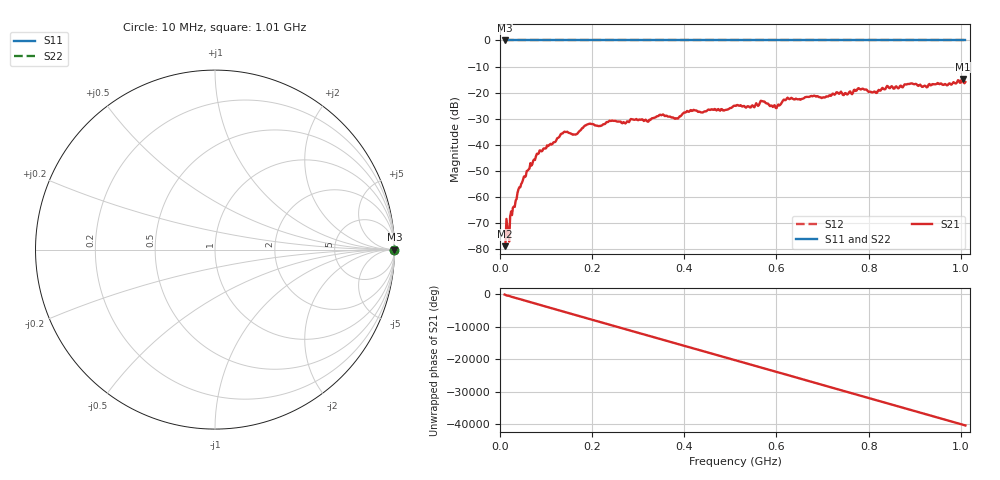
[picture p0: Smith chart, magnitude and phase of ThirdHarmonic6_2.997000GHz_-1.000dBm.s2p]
! 8/17/2025 8:33:36 AM
! C:\ANRITSUVNA\TEMP\TEMP.S2P
! CHANNEL.1
! TR.MEASUREMENT
! RAW.DATA
! RF.CORRECTION.OFF
! AVERAGING.OFF
! IF.BANDWIDTH: 5KHZ
! SWEEPTYPE:  FREQ.SWEEP(Linear)
! Reference Plane Port Info
! PORT:  PORT1  PORT2
! DISTANCE:  0  m  0  m
! TIME:  0  s  0  s
! PHASE.OFFSET:  0  deg.  0  deg.
! LOSS:  0  dB  0  dB
! REF.LOSS:  0  dB  0  dB
! REF.FREQ:  0  Hz  0  Hz
! Power Info
! POWER:  -20  dBm  -20  dBm
! EFF.POWER:  -20  dBm  -20  dBm
! SOURCE.ATTEN:  0  dB  0  dB
! TEST.ATTEN:  0  dB  0  dB
# GHZ S RI R 50.0
! FREQ.GHZ  S11RE  S11IM  S21RE  S21IM  S12RE  S12IM  S22RE  S22IM
!; PortSelection: Port_12
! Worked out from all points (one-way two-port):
!   501 points, 10 MHz to 1.01 GHz, reference 50 ohm
!   highest |S21| = -14.75 dB at 1.004 GHz (marker M1); lowest = -78.9 dB at 10 MHz (marker M2)
!   lowest |S11| = 0.0 dB at 10 MHz (marker M3)
!   |S11| at or under -10 dB: nowhere
!   |S22| runs from 0.0 to 0.0 dB; largest |S21 - S12| = 1.2
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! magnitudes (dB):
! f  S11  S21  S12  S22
! 10 MHz  0.0  -78.9  0.0  0.0
! 22 MHz  0.0  -67.5  0.0  0.0
! 26 MHz  0.0  -67.0  0.0  0.0
! 42 MHz  0.0  -56.3  0.0  0.0
! 82 MHz  0.0  -43.6  0.0  0.0
! 136 MHz  0.0  -35.6  0.0  0.0
! 162 MHz  0.0  -36.1  0.0  0.0
! 178 MHz  0.0  -33.7  0.0  0.0
! 344 MHz  0.0  -29.0  0.0  0.0
! 382 MHz  0.0  -29.8  0.0  0.0
! 410 MHz  0.0  -27.4  0.0  0.0
! 510 MHz  0.0  -25.1  0.0  0.0
! 548 MHz  0.0  -24.9  0.0  0.0
! 570 MHz  0.0  -23.4  0.0  0.0
! 596 MHz  0.0  -24.8  0.0  0.0
! 620 MHz  0.0  -22.9  0.0  0.0
! 678 MHz  0.0  -21.4  0.0  0.0
! 780 MHz  0.0  -18.5  0.0  0.0
! 814 MHz  0.0  -19.6  0.0  0.0
! 844 MHz  0.0  -18.1  0.0  0.0
! 1.004 GHz  0.0  -14.7  0.0  0.0
! 1.01 GHz  0.0  -16.0  0.0  0.0
